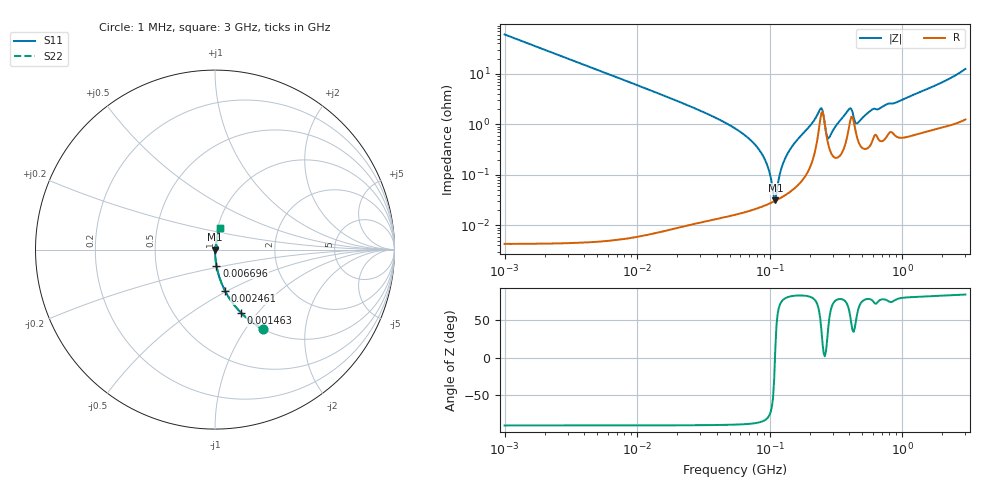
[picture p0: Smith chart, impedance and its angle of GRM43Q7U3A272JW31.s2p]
!Murata Part Number: GRM43Q7U3A272JW31
!These Parameters are Measured in Series Mode Connection
!Data Generated on Mar 30, 2021
!  o--ll--o
!Port1  Port2
!  o------o
!Operation Temp=25[degC], DC Bias Voltage=0[V]
!Freq. Start=1000[kHz] Stop=3[GHz] 401[Steps]
# Hz S RI R 50
!Freq.(Hz) S11(Real) S11(Imag) S21(Real) S21(Imag) S12(Real) S12(Imag) S22(Real) S22(Imag)
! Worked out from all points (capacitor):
!   401 points, 1 MHz to 3 GHz, reference 50 ohm
!   read as one part in series: C = 2.64 nF near 1.041 MHz
!   lowest |Z| = 31.3 mohm at 110.4 MHz (marker M1)
!   series resonance near 109.7 MHz, so ESL is about 800 pH
!   S11 on the Smith chart (normalised r, x): 1 MHz: 1.00, -1.21; 1.463 MHz: 1.00, -0.83; 2.461 MHz: 1.00, -0.49; 6.696 MHz: 1.00, -0.18; 3 GHz: 1.03, +0.25
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1000000  0.2671 -0.4424  0.7329 0.4424  0.7329 0.4424  0.2671 -0.4424
1462727  0.1455 -0.3526  0.8545 0.3526  0.8545 0.3526  0.1455 -0.3526
2461366  0.0567 -0.2312  0.9433 0.2312  0.9433 0.2312  0.0567 -0.2312
3823119  0.0243 -0.1539  0.9757 0.1539  0.9757 0.1539  0.0243 -0.1539
6696013  0.00805 -0.0891  0.992 0.0891  0.992 0.0891  0.00805 -0.0891
1.461624e7  0.00171 -0.0405  0.9983 0.0405  0.9983 0.0405  0.00171 -0.0405
5.477226e7  0.000231 -0.00833  0.9998 0.00833  0.9998 0.00833  0.000231 -0.00833
8.679508e7  0.000239 -0.00266  0.9998 0.00266  0.9998 0.00266  0.000239 -0.00266
9.593103e7  0.00026 -0.00153  0.9997 0.00153  0.9997 0.00153  0.00026 -0.00153
1.060286e8  0.000291 -0.000392  0.9997 0.000392  0.9997 0.000392  0.000291 -0.000392
1.103592e8  0.000306 6.41e-05  0.9997 -6.41e-05  0.9997 -6.41e-05  0.000306 6.41e-05
1.219755e8  0.000354 0.00123  0.9996 -0.00123  0.9996 -0.00123  0.000354 0.00123
1.348146e8  0.00042 0.00244  0.9996 -0.00244  0.9996 -0.00244  0.00042 0.00244
2.094008e8  0.00194 0.0104  0.9981 -0.0104  0.9981 -0.0104  0.00194 0.0104
2.457655e8  0.0167 0.0122  0.9833 -0.0122  0.9833 -0.0122  0.0167 0.0122
2.716345e8  0.00509 0.00223  0.9949 -0.00223  0.9949 -0.00223  0.00509 0.00223
2.827291e8  0.00329 0.0045  0.9967 -0.0045  0.9967 -0.0045  0.00329 0.0045
3.973271e8  0.00913 0.0176  0.9909 -0.0176  0.9909 -0.0176  0.00913 0.0176
4.570858e8  0.00553 0.00876  0.9945 -0.00876  0.9945 -0.00876  0.00553 0.00876
5.929311e8  0.00485 0.0189  0.9951 -0.0189  0.9951 -0.0189  0.00485 0.0189
8.005644e8  0.00737 0.0246  0.9926 -0.0246  0.9926 -0.0246  0.00737 0.0246
3e9  0.0271 0.1197  0.9729 -0.1197  0.9729 -0.1197  0.0271 0.1197
